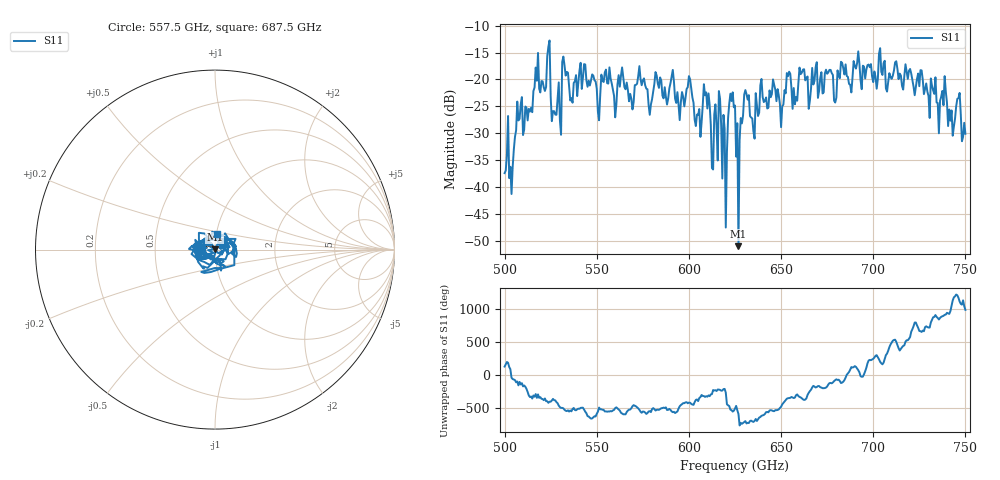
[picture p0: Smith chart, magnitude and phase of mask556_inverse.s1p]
!Created with skrf (http://scikit-rf.org).
# GHz S MA R 50.0
!freq magS11 angS11
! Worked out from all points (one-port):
!   401 points, 500 GHz to 750 GHz, reference 50 ohm
!   lowest |S11| = -51.0 dB at 626.9 GHz (marker M1), VSWR 1.01, Z = 49.8 + j0.222 ohm
!   |S11| at or under -10 dB: start of sweep to end of sweep
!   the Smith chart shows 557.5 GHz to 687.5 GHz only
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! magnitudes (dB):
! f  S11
! 500 GHz  -37.4
! 503.8 GHz  -41.3
! 508.1 GHz  -27.3
! 513.8 GHz  -26.0
! 516.9 GHz  -17.8
! 523.8 GHz  -13.9
! 526.9 GHz  -25.9
! 531.2 GHz  -16.8
! 562.5 GHz  -21.3
! 593.8 GHz  -22.4
! 600 GHz  -19.4
! 605 GHz  -26.6
! 609.4 GHz  -22.4
! 612.5 GHz  -36.5
! 617.5 GHz  -28.5
! 619.4 GHz  -29.2
! 622.5 GHz  -22.6
! 625 GHz  -24.9
! 626.9 GHz  -51.0
! 631.2 GHz  -22.7
! 634.4 GHz  -27.3
! 640 GHz  -23.3
! 656.2 GHz  -25.5
! 687.5 GHz  -21.0
! 718.8 GHz  -19.9
! 743.1 GHz  -30.5
! 746.2 GHz  -23.5
! 750 GHz  -30.1
